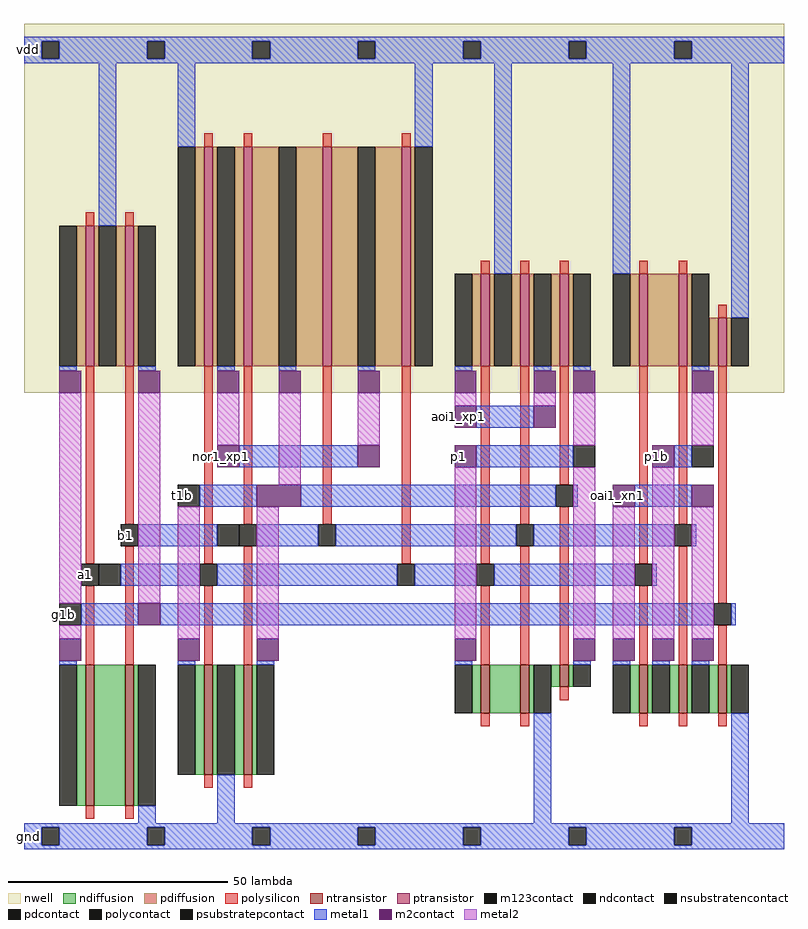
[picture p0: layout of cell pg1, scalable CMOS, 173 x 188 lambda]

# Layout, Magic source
magic
tech scmos
<< nwell >>
rect 0 104 173 188
<< ntransistor >>
rect 14 10 16 42
rect 23 10 25 42
rect 41 17 43 42
rect 50 17 52 42
rect 104 31 106 42
rect 113 31 115 42
rect 122 37 124 42
rect 140 31 142 42
rect 149 31 151 42
rect 158 31 160 42
<< ptransistor >>
rect 14 110 16 142
rect 23 110 25 142
rect 41 110 43 160
rect 50 110 52 160
rect 68 110 70 160
rect 86 110 88 160
rect 104 110 106 131
rect 113 110 115 131
rect 122 110 124 131
rect 140 110 142 131
rect 149 110 151 131
rect 158 110 160 121
<< ndiffusion >>
rect 12 10 14 42
rect 16 10 23 42
rect 25 10 26 42
rect 39 17 41 42
rect 43 17 44 42
rect 48 17 50 42
rect 52 17 53 42
rect 102 31 104 42
rect 106 31 113 42
rect 115 31 116 42
rect 120 37 122 42
rect 124 37 125 42
rect 138 31 140 42
rect 142 31 143 42
rect 147 31 149 42
rect 151 31 152 42
rect 156 31 158 42
rect 160 31 161 42
<< pdiffusion >>
rect 12 110 14 142
rect 16 110 17 142
rect 21 110 23 142
rect 25 110 26 142
rect 39 110 41 160
rect 43 110 44 160
rect 48 110 50 160
rect 52 110 58 160
rect 62 110 68 160
rect 70 110 76 160
rect 80 110 86 160
rect 88 110 89 160
rect 102 110 104 131
rect 106 110 107 131
rect 111 110 113 131
rect 115 110 116 131
rect 120 110 122 131
rect 124 110 125 131
rect 138 110 140 131
rect 142 110 149 131
rect 151 110 152 131
rect 156 110 158 121
rect 160 110 161 121
<< ndcontact >>
rect 8 10 12 42
rect 26 10 30 42
rect 35 17 39 42
rect 44 17 48 42
rect 53 17 57 42
rect 98 31 102 42
rect 116 31 120 42
rect 125 37 129 42
rect 134 31 138 42
rect 143 31 147 42
rect 152 31 156 42
rect 161 31 165 42
<< pdcontact >>
rect 8 110 12 142
rect 17 110 21 142
rect 26 110 30 142
rect 35 110 39 160
rect 44 110 48 160
rect 58 110 62 160
rect 76 110 80 160
rect 89 110 93 160
rect 98 110 102 131
rect 107 110 111 131
rect 116 110 120 131
rect 125 110 129 131
rect 134 110 138 131
rect 152 110 156 131
rect 161 110 165 121
<< psubstratepcontact >>
rect 4 1 8 5
rect 28 1 32 5
rect 52 1 56 5
rect 76 1 80 5
rect 100 1 104 5
rect 124 1 128 5
rect 148 1 152 5
<< nsubstratencontact >>
rect 4 180 8 184
rect 28 180 32 184
rect 52 180 56 184
rect 76 180 80 184
rect 100 180 104 184
rect 124 180 128 184
rect 148 180 152 184
<< polysilicon >>
rect 41 160 43 163
rect 50 160 52 163
rect 68 160 70 163
rect 86 160 88 163
rect 14 142 16 145
rect 23 142 25 145
rect 104 131 106 134
rect 113 131 115 134
rect 122 131 124 134
rect 140 131 142 134
rect 149 131 151 134
rect 158 121 160 124
rect 14 65 16 110
rect 23 74 25 110
rect 14 42 16 60
rect 23 42 25 69
rect 41 65 43 110
rect 50 74 52 110
rect 68 74 70 110
rect 41 42 43 60
rect 50 42 52 69
rect 86 65 88 110
rect 104 65 106 110
rect 113 74 115 110
rect 122 83 124 110
rect 104 42 106 60
rect 113 42 115 69
rect 122 42 124 78
rect 140 65 142 110
rect 149 74 151 110
rect 140 42 142 60
rect 149 42 151 69
rect 158 56 160 110
rect 158 42 160 51
rect 122 34 124 37
rect 104 28 106 31
rect 113 28 115 31
rect 140 28 142 31
rect 149 28 151 31
rect 158 28 160 31
rect 41 14 43 17
rect 50 14 52 17
rect 14 7 16 10
rect 23 7 25 10
<< polycontact >>
rect 22 69 26 74
rect 13 60 17 65
rect 49 69 53 74
rect 67 69 71 74
rect 40 60 44 65
rect 121 78 125 83
rect 112 69 116 74
rect 85 60 89 65
rect 103 60 107 65
rect 148 69 152 74
rect 139 60 143 65
rect 157 51 161 56
<< metal1 >>
rect 0 184 173 185
rect 0 180 4 184
rect 8 180 28 184
rect 32 180 52 184
rect 56 180 76 184
rect 80 180 100 184
rect 104 180 124 184
rect 128 180 148 184
rect 152 180 173 184
rect 0 179 173 180
rect 17 142 21 179
rect 35 160 39 179
rect 89 160 93 179
rect 8 109 12 110
rect 26 109 30 110
rect 44 109 48 110
rect 58 109 62 110
rect 107 131 111 179
rect 134 131 138 179
rect 76 109 80 110
rect 98 109 102 110
rect 116 109 120 110
rect 161 121 165 179
rect 125 109 129 110
rect 152 109 156 110
rect 103 96 116 101
rect 49 87 76 92
rect 103 87 125 92
rect 148 87 152 92
rect 40 78 53 83
rect 63 78 121 83
rect 125 78 126 83
rect 139 78 152 83
rect 26 69 44 74
rect 53 69 67 74
rect 71 69 112 74
rect 116 69 148 74
rect 152 69 153 74
rect 22 60 40 65
rect 44 60 85 65
rect 89 60 103 65
rect 107 60 139 65
rect 143 60 144 65
rect 13 51 26 56
rect 31 51 157 56
rect 161 51 162 56
rect 8 42 12 43
rect 35 42 39 43
rect 53 42 57 43
rect 98 42 102 43
rect 125 42 129 43
rect 134 42 138 43
rect 143 42 147 43
rect 152 42 156 43
rect 26 6 30 10
rect 44 6 48 17
rect 116 6 120 31
rect 161 6 165 31
rect 0 5 173 6
rect 0 1 4 5
rect 8 1 28 5
rect 32 1 52 5
rect 56 1 76 5
rect 80 1 100 5
rect 104 1 124 5
rect 128 1 148 5
rect 152 1 173 5
rect 0 0 173 1
<< m2contact >>
rect 8 104 13 109
rect 26 104 31 109
rect 44 104 49 109
rect 58 104 63 109
rect 76 104 81 109
rect 98 104 103 109
rect 116 104 121 109
rect 125 104 130 109
rect 152 104 157 109
rect 98 96 103 101
rect 116 96 121 101
rect 44 87 49 92
rect 76 87 81 92
rect 98 87 103 92
rect 143 87 148 92
rect 53 78 63 83
rect 134 78 139 83
rect 152 78 157 83
rect 26 51 31 56
rect 8 43 13 48
rect 35 43 40 48
rect 53 43 58 48
rect 98 43 103 48
rect 125 43 130 48
rect 134 43 139 48
rect 143 43 148 48
rect 152 43 157 48
<< metal2 >>
rect 8 56 13 104
rect 26 56 31 104
rect 44 92 49 104
rect 58 83 63 104
rect 76 92 81 104
rect 98 101 103 104
rect 116 101 121 104
rect 125 92 130 104
rect 152 92 157 104
rect 8 48 13 51
rect 35 48 40 78
rect 53 48 58 78
rect 98 48 103 87
rect 125 48 130 87
rect 134 48 139 78
rect 143 48 148 87
rect 152 48 157 78
<< m123contact >>
rect 17 60 22 65
rect 8 51 13 56
rect 35 78 40 83
rect 44 69 49 74
rect 125 87 130 92
rect 152 87 157 92
<< labels >>
rlabel metal1 13 60 15 65 0 a1
port 1 nsew
rlabel metal1 22 69 24 74 0 b1
port 2 nsew
rlabel metal1 8 51 10 56 0 g1b
port 3 nsew
rlabel m2contact 98 87 100 92 0 p1
port 4 nsew
rlabel m2contact 143 87 145 92 0 p1b
port 5 nsew
rlabel metal1 35 78 37 83 0 t1b
port 6 nsew
rlabel m2contact 98 96 100 101 0 aoi1_xp1
rlabel m2contact 44 87 46 92 0 nor1_xp1
rlabel m2contact 134 78 136 83 0 oai1_xn1
rlabel metal1 0 179 2 185 0 vdd
port 7 nsew
rlabel metal1 0 0 2 6 0 gnd
port 8 nsew
<< end >>
